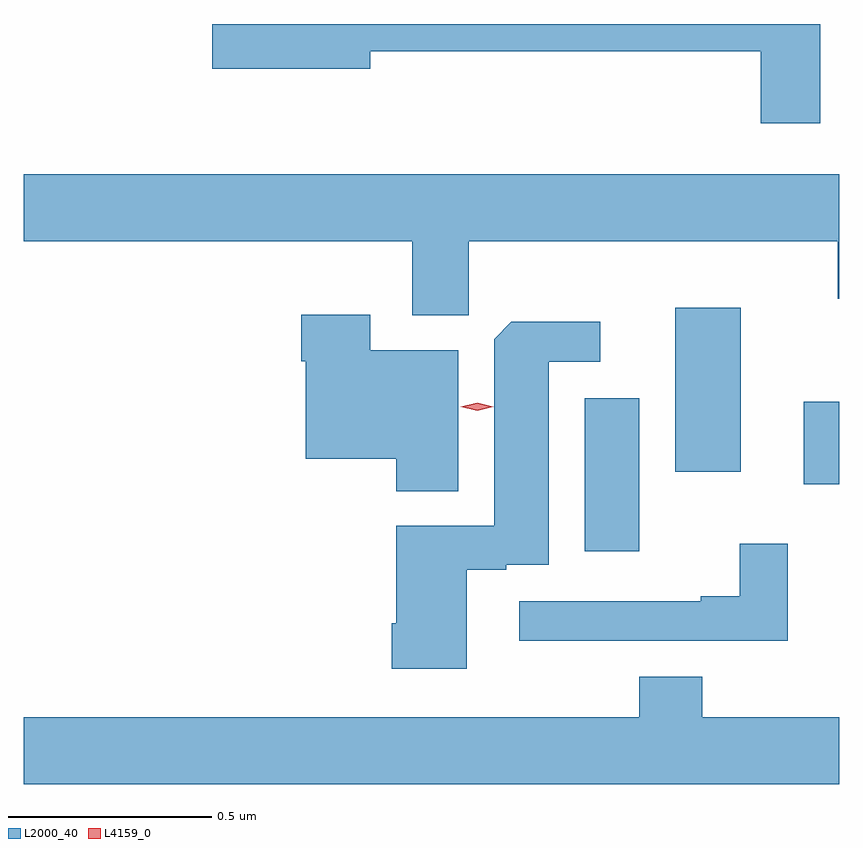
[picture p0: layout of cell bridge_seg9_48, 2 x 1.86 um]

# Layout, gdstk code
import gdstk
lib = gdstk.Library(unit=1e-6, precision=1e-09)
def R(c, l, rs):  # rectangles x0, y0, x1, y1
    for r in rs: c.add(gdstk.rectangle(r[:2], r[2:], *l))
def P(c, l, *ps):  # polygons
    for p in ps: c.add(gdstk.Polygon(p, *l))
L2000_40 = (2000, 40)
L4159_0 = (4159, 0)

bridge_seg9_48 = lib.new_cell('bridge_seg9_48')
R(bridge_seg9_48, L2000_40, [(910.394,1181.007,910.528,1181.383), (910.931,1181.171,911.018,1181.374), (910.616,1181.202,910.777,1181.605)])
P(bridge_seg9_48, L2000_40, [(910.972,1182.301),(909.48,1182.301),(909.48,1182.191),(909.868,1182.191),(909.868,1182.234),(910.826,1182.234),(910.826,1182.057),(910.972,1182.057)],
  [(909.018,1181.768),(909.971,1181.768),(909.971,1181.586),(910.109,1181.586),(910.109,1181.768),(911.015,1181.768),(911.015,1181.627),(911.018,1181.627),(911.018,1181.932),(909.018,1181.932)],
  [(910.084,1181.5),(909.868,1181.5),(909.868,1181.587),(909.698,1181.587),(909.698,1181.474),(909.71,1181.474),(909.71,1181.234),(909.932,1181.234),(909.932,1181.155),(910.084,1181.155)],
  [(910.105,1180.962),(910.202,1180.962),(910.202,1180.974),(910.306,1180.974),(910.306,1181.472),(910.432,1181.472),(910.432,1181.57),(910.214,1181.57),(910.172,1181.528),(910.172,1181.07),(909.932,1181.07),(909.932,1180.831),(909.92,1180.831),(909.92,1180.719),(910.105,1180.719)],
  [(910.892,1181.026),(910.774,1181.026),(910.774,1180.897),(910.679,1180.897),(910.679,1180.884),(910.233,1180.884),(910.233,1180.788),(910.892,1180.788)],
  [(911.018,1180.6),(910.683,1180.6),(910.683,1180.699),(910.528,1180.699),(910.528,1180.6),(909.018,1180.6),(909.018,1180.436),(911.018,1180.436)])
P(bridge_seg9_48, L4159_0, [(910.13,1181.352),(910.09,1181.362),(910.09,1181.362),(910.09,1181.362),(910.13,1181.372),(910.169,1181.362),(910.169,1181.362),(910.169,1181.362)])

lib.write_gds('bridge_seg9_48.gds')
